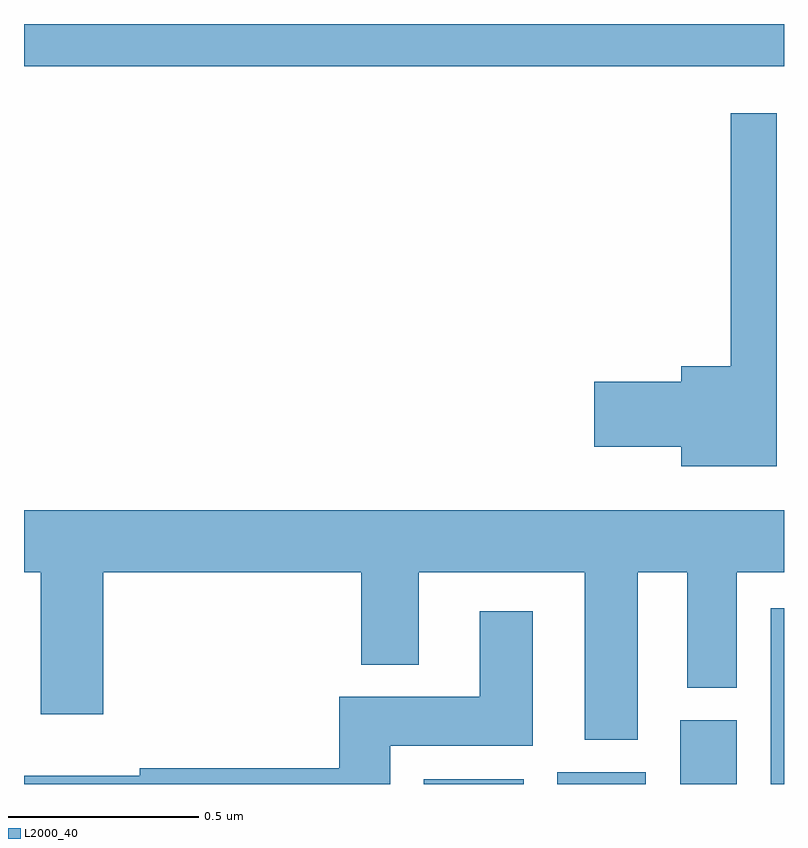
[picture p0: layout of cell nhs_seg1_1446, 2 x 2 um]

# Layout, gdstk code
import gdstk
lib = gdstk.Library(unit=1e-6, precision=1e-09)
def R(c, l, rs):  # rectangles x0, y0, x1, y1
    for r in rs: c.add(gdstk.rectangle(r[:2], r[2:], *l))
def P(c, l, *ps):  # polygons
    for p in ps: c.add(gdstk.Polygon(p, *l))
L2000_40 = (2000, 40)

nhs_seg1_1446 = lib.new_cell('nhs_seg1_1446')
R(nhs_seg1_1446, L2000_40, [(130.052,527.199,130.315,527.212), (130.403,527.199,130.636,527.23), (130.727,527.199,130.876,527.367), (130.965,527.199,131,527.662), (129,529.088,131,529.199)])
P(nhs_seg1_1446, L2000_40, [(130.981,528.964),(130.86,528.964),(130.86,528.298),(130.73,528.298),(130.73,528.257),(130.5,528.257),(130.5,528.086),(130.73,528.086),(130.73,528.035),(130.981,528.035)],
  [(130.615,527.756),(130.745,527.756),(130.745,527.452),(130.876,527.452),(130.876,527.756),(131,527.756),(131,527.92),(129,527.92),(129,527.756),(129.044,527.756),(129.044,527.382),(129.208,527.382),(129.208,527.756),(129.887,527.756),(129.887,527.513),(130.039,527.513),(130.039,527.756),(130.475,527.756),(130.475,527.315),(130.615,527.315)],
  [(129.964,527.3),(130.339,527.3),(130.339,527.653),(130.199,527.653),(130.199,527.428),(129.83,527.428),(129.83,527.24),(129.304,527.24),(129.304,527.221),(129,527.221),(129,527.199),(129.964,527.199)])

lib.write_gds('nhs_seg1_1446.gds')
